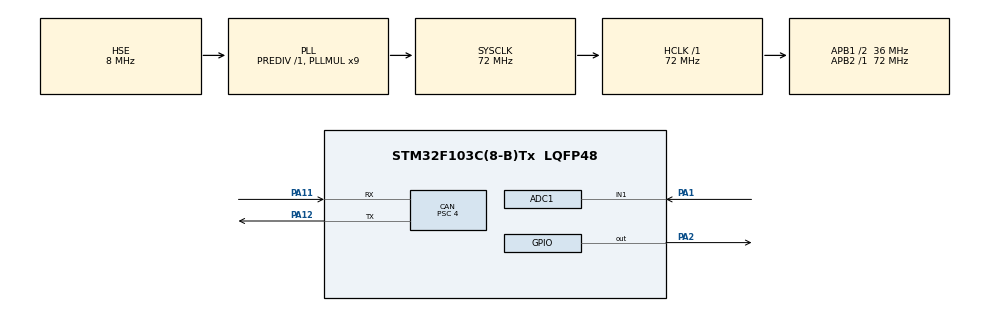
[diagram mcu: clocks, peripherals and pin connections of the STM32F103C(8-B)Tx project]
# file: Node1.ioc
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ADC1.Channel-0\#ChannelRegularConversion=ADC_CHANNEL_1
ADC1.NbrOfConversionFlag=1
ADC1.Rank-0\#ChannelRegularConversion=1
ADC1.SamplingTime-0\#ChannelRegularConversion=ADC_SAMPLETIME_1CYCLE_5
ADC1.master=1
CAN.BS1=CAN_BS1_15TQ
CAN.BS2=CAN_BS2_2TQ
CAN.CalculateBaudRate=500000
CAN.CalculateTimeBit=2000
CAN.CalculateTimeQuantum=111.11111111111111
CAN.Prescaler=4
FREERTOS.INCLUDE_vTaskDelayUntil=1
FREERTOS.Tasks01=defaultTask,0,128,StartDefaultTask,Default,NULL,Dynamic,NULL,NULL
Mcu.Family=STM32F1
Mcu.Name=STM32F103C(8-B)Tx
Mcu.Package=LQFP48
NVIC.PriorityGroup=NVIC_PRIORITYGROUP_4
NVIC.TIM4_IRQn=true\:15\:0\:false\:false\:true\:false\:false\:true\:true
NVIC.TimeBase=TIM4_IRQn
NVIC.TimeBaseIP=TIM4
NVIC.USB_LP_CAN1_RX0_IRQn=true\:5\:0\:false\:false\:true\:true\:true\:true\:true
PA1.Signal=ADCx_IN1
PA11.Mode=CAN_Activate
PA11.Signal=CAN_RX
PA12.Mode=CAN_Activate
PA12.Signal=CAN_TX
PA13.Mode=Serial_Wire
PA13.Signal=SYS_JTMS-SWDIO
PA14.Mode=Serial_Wire
PA14.Signal=SYS_JTCK-SWCLK
PA2.GPIO_ModeDefaultOutputPP=GPIO_MODE_OUTPUT_OD
PA2.GPIO_PuPd=GPIO_PULLUP
PA2.Signal=GPIO_Output
PD0-OSC_IN.Mode=HSE-External-Oscillator
PD0-OSC_IN.Signal=RCC_OSC_IN
PD1-OSC_OUT.Mode=HSE-External-Oscillator
PD1-OSC_OUT.Signal=RCC_OSC_OUT
ProjectManager.HeapSize=0x200
ProjectManager.StackSize=0x400
ProjectManager.TargetToolchain=MDK-ARM V5.32
RCC.ADCPresc=RCC_ADCPCLK2_DIV6
RCC.AHBFreq_Value=72000000
RCC.APB1CLKDivider=RCC_HCLK_DIV2
RCC.APB1Freq_Value=36000000
RCC.APB1TimFreq_Value=72000000
RCC.APB2Freq_Value=72000000
RCC.APB2TimFreq_Value=72000000
RCC.HCLKFreq_Value=72000000
RCC.PLLMUL=RCC_PLL_MUL9
RCC.PLLSourceVirtual=RCC_PLLSOURCE_HSE
RCC.SYSCLKFreq_VALUE=72000000
RCC.SYSCLKSource=RCC_SYSCLKSOURCE_PLLCLK
RCC.USBFreq_Value=72000000
SH.ADCx_IN1.0=ADC1_IN1,IN1
TIM2.Prescaler=71
VP_FREERTOS_VS_CMSIS_V1.Mode=CMSIS_V1
VP_SYS_VS_tim4.Mode=TIM4
VP_TIM2_VS_ClockSourceINT.Mode=Internal
board=custom

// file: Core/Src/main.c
/* USER CODE BEGIN Header */
/**
  ******************************************************************************
  * @file           : main.c
  * @brief          : Main program body
  ******************************************************************************
  * @attention
  *
  * Copyright (c) 2026 STMicroelectronics.
  * All rights reserved.
  *
  * This software is licensed under terms that can be found in the LICENSE file
  * in the root directory of this software component.
  * If no LICENSE file comes with this software, it is provided AS-IS.
  *
  ******************************************************************************
  */
/* USER CODE END Header */
#include "main.h"
#include "cmsis_os.h"

/* USER CODE BEGIN Includes */
#include <stdbool.h>
#include "DHT11.h"
#include "MQ5.h"
/* USER CODE END Includes */

/* USER CODE BEGIN PTD */

typedef struct {
    uint8_t temperature;
    uint8_t humidity;
    uint16_t gas_raw;
} SensorData_t;
// Interface Driver tổng quát
typedef struct {
    const char *name;
    bool (*init)(void);
    bool (*read)(void *out_data);
} Sensor_Driver_t;
/* USER CODE END PTD */

ADC_HandleTypeDef hadc1;

CAN_HandleTypeDef hcan;

TIM_HandleTypeDef htim2;

osThreadId defaultTaskHandle;
/* USER CODE BEGIN PV */
volatile SensorData_t g_sensorDebug = {0};
volatile uint32_t g_sensorStage = 0;
volatile uint32_t g_sensorLoops = 0;
volatile uint32_t g_dhtSuccessCount = 0;
QueueHandle_t xSensorQueue = NULL;

TaskHandle_t xTaskSensorHandle = NULL;
TaskHandle_t xTaskCANTXHandle = NULL;
/* USER CODE END PV */

void SystemClock_Config(void);
static void MX_GPIO_Init(void);
static void MX_ADC1_Init(void);
static void MX_CAN_Init(void);
static void MX_TIM2_Init(void);
void StartDefaultTask(void const * argument);

/* USER CODE BEGIN PFP */
void Task_Sensor(void *pvParameters);
void Task_CAN_TX(void *pvParameters);
/* USER CODE END PFP */

void SystemClock_Config(void);
static void MX_GPIO_Init(void);
static void MX_ADC1_Init(void);
static void MX_CAN_Init(void);
static void MX_TIM2_Init(void);
void StartDefaultTask(void const * argument);

/* USER CODE BEGIN 0 */
static bool MQ5_Driver_Init(void) {
    MQ5_Init(&hadc1);
    return true;
}

static bool MQ5_Driver_Read(void *out_data) {
    if (out_data == NULL) return false;
    *(uint16_t *)out_data = MQ5_ReadAverage(8);
    return true;
}

// --- ADAPTER CHO DHT11 ---
static bool DHT11_Driver_Init(void) {
    DHT11_Init(&htim2);
    return true;
}

static bool DHT11_Driver_Read(void *out_data) {
    if (out_data == NULL) return false;
    return DHT11_Read((DHT11_Data_t *)out_data);
}

// --- KHAI BÁO CÁC DRIVER CỤ THỂ ---
Sensor_Driver_t dev_mq5 = {
    .name = "MQ-5 Gas Sensor",
    .init = MQ5_Driver_Init,
    .read = MQ5_Driver_Read
};

Sensor_Driver_t dev_dht11 = {
    .name = "DHT11 Temp/Hum",
    .init = DHT11_Driver_Init,
    .read = DHT11_Driver_Read
};

// Gom tất cả vào một mảng thiết bị để quản lý tập trung
#define TOTAL_SENSORS 2
Sensor_Driver_t *sensor_bus[TOTAL_SENSORS] = {
    &dev_mq5,
    &dev_dht11
};
/* USER CODE END 0 */

int main(void)
{

  /* MCU Configuration--------------------------------------------------------*/

  /* Reset of all peripherals, Initializes the Flash interface and the Systick. */
  HAL_Init();

  /* Configure the system clock */
  SystemClock_Config();

  /* Initialize all configured peripherals */
  MX_GPIO_Init();
  MX_ADC1_Init();
  MX_CAN_Init();
  MX_TIM2_Init();
  /* USER CODE BEGIN 2 */
HAL_TIM_Base_Start(&htim2);// Bat timer 2
for (int i = 0; i < TOTAL_SENSORS; i++) {
      if (sensor_bus[i]->init != NULL) {
          sensor_bus[i]->init();
      }
  }
/*Cau hinh bo loc CAN */
CAN_FilterTypeDef canFilterConfig;
  canFilterConfig.FilterBank = 0;
  canFilterConfig.FilterMode = CAN_FILTERMODE_IDMASK;
  canFilterConfig.FilterScale = CAN_FILTERSCALE_32BIT;
  canFilterConfig.FilterIdHigh = 0x0000;
  canFilterConfig.FilterIdLow = 0x0000;
  canFilterConfig.FilterMaskIdHigh = 0x0000;
  canFilterConfig.FilterMaskIdLow = 0x0000;
  canFilterConfig.FilterFIFOAssignment = CAN_RX_FIFO0;
  canFilterConfig.FilterActivation = ENABLE;
  canFilterConfig.SlaveStartFilterBank = 14;
  HAL_CAN_ConfigFilter(&hcan, &canFilterConfig);
  HAL_CAN_Start(&hcan);
  HAL_CAN_ActivateNotification(&hcan, CAN_IT_RX_FIFO0_MSG_PENDING);
  /* USER CODE END 2 */

  /* USER CODE BEGIN RTOS_QUEUES */
  /* add queues, ... */
  xSensorQueue = xQueueCreate(5, sizeof(SensorData_t));
  /* USER CODE END RTOS_QUEUES */

  /* Create the thread(s) */
  /* definition and creation of defaultTask */

  /* USER CODE BEGIN RTOS_THREADS */

  xTaskCreate(Task_Sensor, "SensorTask", 256, NULL, 2, &xTaskSensorHandle);

  xTaskCreate(Task_CAN_TX, "CANTXTask", 256, NULL, 3, &xTaskCANTXHandle);
  /* USER CODE END RTOS_QUEUES */

  /* Create the thread(s) */
  /* definition and creation of defaultTask */

  /* USER CODE BEGIN RTOS_THREADS */
  /* add threads, ... */
  /* USER CODE END RTOS_THREADS */

  /* Start scheduler */
  osKernelStart();

  /* We should never get here as control is now taken by the scheduler */

  /* Infinite loop */
  while (1)
  {

  }
}

void SystemClock_Config(void)
{
  RCC_OscInitTypeDef RCC_OscInitStruct = {0};
  RCC_ClkInitTypeDef RCC_ClkInitStruct = {0};
  RCC_PeriphCLKInitTypeDef PeriphClkInit = {0};

  /** Initializes the RCC Oscillators according to the specified parameters
  * in the RCC_OscInitTypeDef structure.
  */
  RCC_OscInitStruct.OscillatorType = RCC_OSCILLATORTYPE_HSE;
  RCC_OscInitStruct.HSEState = RCC_HSE_ON;
  RCC_OscInitStruct.HSEPredivValue = RCC_HSE_PREDIV_DIV1;
  RCC_OscInitStruct.HSIState = RCC_HSI_ON;
  RCC_OscInitStruct.PLL.PLLState = RCC_PLL_ON;
  RCC_OscInitStruct.PLL.PLLSource = RCC_PLLSOURCE_HSE;
  RCC_OscInitStruct.PLL.PLLMUL = RCC_PLL_MUL9;
  if (HAL_RCC_OscConfig(&RCC_OscInitStruct) != HAL_OK)
  {
    Error_Handler();
  }

  /** Initializes the CPU, AHB and APB buses clocks
  */
  RCC_ClkInitStruct.ClockType = RCC_CLOCKTYPE_HCLK|RCC_CLOCKTYPE_SYSCLK
                              |RCC_CLOCKTYPE_PCLK1|RCC_CLOCKTYPE_PCLK2;
  RCC_ClkInitStruct.SYSCLKSource = RCC_SYSCLKSOURCE_PLLCLK;
  RCC_ClkInitStruct.AHBCLKDivider = RCC_SYSCLK_DIV1;
  RCC_ClkInitStruct.APB1CLKDivider = RCC_HCLK_DIV2;
  RCC_ClkInitStruct.APB2CLKDivider = RCC_HCLK_DIV1;

  if (HAL_RCC_ClockConfig(&RCC_ClkInitStruct, FLASH_LATENCY_2) != HAL_OK)
  {
    Error_Handler();
  }
  PeriphClkInit.PeriphClockSelection = RCC_PERIPHCLK_ADC;
  PeriphClkInit.AdcClockSelection = RCC_ADCPCLK2_DIV6;
  if (HAL_RCCEx_PeriphCLKConfig(&PeriphClkInit) != HAL_OK)
  {
    Error_Handler();
  }
}

static void MX_ADC1_Init(void)
{

  ADC_ChannelConfTypeDef sConfig = {0};

  /** Common config
  */
  hadc1.Instance = ADC1;
  hadc1.Init.ScanConvMode = ADC_SCAN_DISABLE;
  hadc1.Init.ContinuousConvMode = DISABLE;
  hadc1.Init.DiscontinuousConvMode = DISABLE;
  hadc1.Init.ExternalTrigConv = ADC_SOFTWARE_START;
  hadc1.Init.DataAlign = ADC_DATAALIGN_RIGHT;
  hadc1.Init.NbrOfConversion = 1;
  if (HAL_ADC_Init(&hadc1) != HAL_OK)
  {
    Error_Handler();
  }

  /** Configure Regular Channel
  */
  sConfig.Channel = ADC_CHANNEL_1;
  sConfig.Rank = ADC_REGULAR_RANK_1;
sConfig.SamplingTime = ADC_SAMPLETIME_239CYCLES_5;
  if (HAL_ADC_ConfigChannel(&hadc1, &sConfig) != HAL_OK)
  {
    Error_Handler();
  }

}

static void MX_CAN_Init(void)
{

  hcan.Instance = CAN1;
  hcan.Init.Prescaler = 4;
  hcan.Init.Mode = CAN_MODE_NORMAL;
  hcan.Init.SyncJumpWidth = CAN_SJW_1TQ;
  hcan.Init.TimeSeg1 = CAN_BS1_15TQ;
  hcan.Init.TimeSeg2 = CAN_BS2_2TQ;
  hcan.Init.TimeTriggeredMode = DISABLE;
  hcan.Init.AutoBusOff = DISABLE;
  hcan.Init.AutoWakeUp = DISABLE;
  hcan.Init.AutoRetransmission = DISABLE;
  hcan.Init.ReceiveFifoLocked = DISABLE;
  hcan.Init.TransmitFifoPriority = DISABLE;
  if (HAL_CAN_Init(&hcan) != HAL_OK)
  {
    Error_Handler();
  }

}

static void MX_TIM2_Init(void)
{

  TIM_ClockConfigTypeDef sClockSourceConfig = {0};
  TIM_MasterConfigTypeDef sMasterConfig = {0};

  htim2.Instance = TIM2;
  htim2.Init.Prescaler = 71;
  htim2.Init.CounterMode = TIM_COUNTERMODE_UP;
  htim2.Init.Period = 65535;
  htim2.Init.ClockDivision = TIM_CLOCKDIVISION_DIV1;
  htim2.Init.AutoReloadPreload = TIM_AUTORELOAD_PRELOAD_DISABLE;
  if (HAL_TIM_Base_Init(&htim2) != HAL_OK)
  {
    Error_Handler();
  }
  sClockSourceConfig.ClockSource = TIM_CLOCKSOURCE_INTERNAL;
  if (HAL_TIM_ConfigClockSource(&htim2, &sClockSourceConfig) != HAL_OK)
  {
    Error_Handler();
  }
  sMasterConfig.MasterOutputTrigger = TIM_TRGO_RESET;
  sMasterConfig.MasterSlaveMode = TIM_MASTERSLAVEMODE_DISABLE;
  if (HAL_TIMEx_MasterConfigSynchronization(&htim2, &sMasterConfig) != HAL_OK)
  {
    Error_Handler();
  }

}

static void MX_GPIO_Init(void)
{
  GPIO_InitTypeDef GPIO_InitStruct = {0};

  /* GPIO Ports Clock Enable */
  __HAL_RCC_GPIOD_CLK_ENABLE();
  __HAL_RCC_GPIOA_CLK_ENABLE();

  /*Configure GPIO pin Output Level */
  HAL_GPIO_WritePin(GPIOA, GPIO_PIN_2, GPIO_PIN_RESET);

  /*Configure GPIO pin : PA2 */
GPIO_InitStruct.Pin = GPIO_PIN_2;
GPIO_InitStruct.Mode = GPIO_MODE_INPUT;
GPIO_InitStruct.Pull = GPIO_PULLUP;
HAL_GPIO_Init(GPIOA, &GPIO_InitStruct);

}

/* USER CODE BEGIN 4 */
void Task_Sensor(void *pvParameters)
{
    SensorData_t sensorData;
    DHT11_Data_t dhtRaw;
    TickType_t xLastWakeTime = xTaskGetTickCount();
    const TickType_t xFrequency = pdMS_TO_TICKS(500);

    for (;;)
    {
        // 1. Đọc dữ liệu khí gas thông qua Driver MQ-5
        dev_mq5.read(&sensorData.gas_raw);

        // 2. Đọc dữ liệu môi trường thông qua Driver DHT11
        if (dev_dht11.read(&dhtRaw))
        {
            sensorData.temperature = (uint8_t)dhtRaw.Temperature;
            sensorData.humidity    = (uint8_t)dhtRaw.Humidity;
        }

        // Cập nhật biến debug và đẩy vào CAN Queue
        g_sensorDebug = sensorData;

        if (xSensorQueue != NULL)
        {
            xQueueSend(xSensorQueue, &sensorData, pdMS_TO_TICKS(10));
        }

        vTaskDelayUntil(&xLastWakeTime, xFrequency);
    }
}

/**
 * @brief
 */
void Task_CAN_TX(void *pvParameters)
{
    SensorData_t rxData;
    CAN_TxHeaderTypeDef txHeader;
    uint8_t txData[8];
    uint32_t txMailbox;

    // C?u h�nh khung truy?n CAN
    txHeader.StdId = 0x100;              // CAN ID cho Node 1 Sensor
    txHeader.ExtId = 0x00;
    txHeader.RTR = CAN_RTR_DATA;         // Khung d? li?u ti�u chu?n
    txHeader.IDE = CAN_ID_STD;          // Chu?n Standard (11-bit ID)
    txHeader.DLC = 4;                   // Chi?u d�i d? li?u: 4 Bytes
    txHeader.TransmitGlobalTime = DISABLE;

    for (;;)
    {
        // Block v� th?i h?n cho t?i khi c� d? li?u m?i t? Task_Sensor
        if (xQueueReceive(xSensorQueue, &rxData, portMAX_DELAY) == pdPASS)
        {
            // ��ng g�i Payload
            txData[0] = rxData.temperature;
            txData[1] = rxData.humidity;
            txData[2] = (uint8_t)((rxData.gas_raw >> 8) & 0xFF); // Byte cao c?a ADC
            txData[3] = (uint8_t)(rxData.gas_raw & 0xFF);        // Byte th?p c?a ADC

            // Ki?m tra xem c� Mailbox tr?ng kh�ng tru?c khi truy?n
            if (HAL_CAN_GetTxMailboxesFreeLevel(&hcan) > 0)
            {
                HAL_CAN_AddTxMessage(&hcan, &txHeader, txData, &txMailbox);
            }
        }
    }
}
/* USER CODE END 4 */

void HAL_TIM_PeriodElapsedCallback(TIM_HandleTypeDef *htim)
{
  if (htim->Instance == TIM4)
  {
    HAL_IncTick();
  }
}

void Error_Handler(void)
{
  __disable_irq();
  while (1)
  {
  }
}
